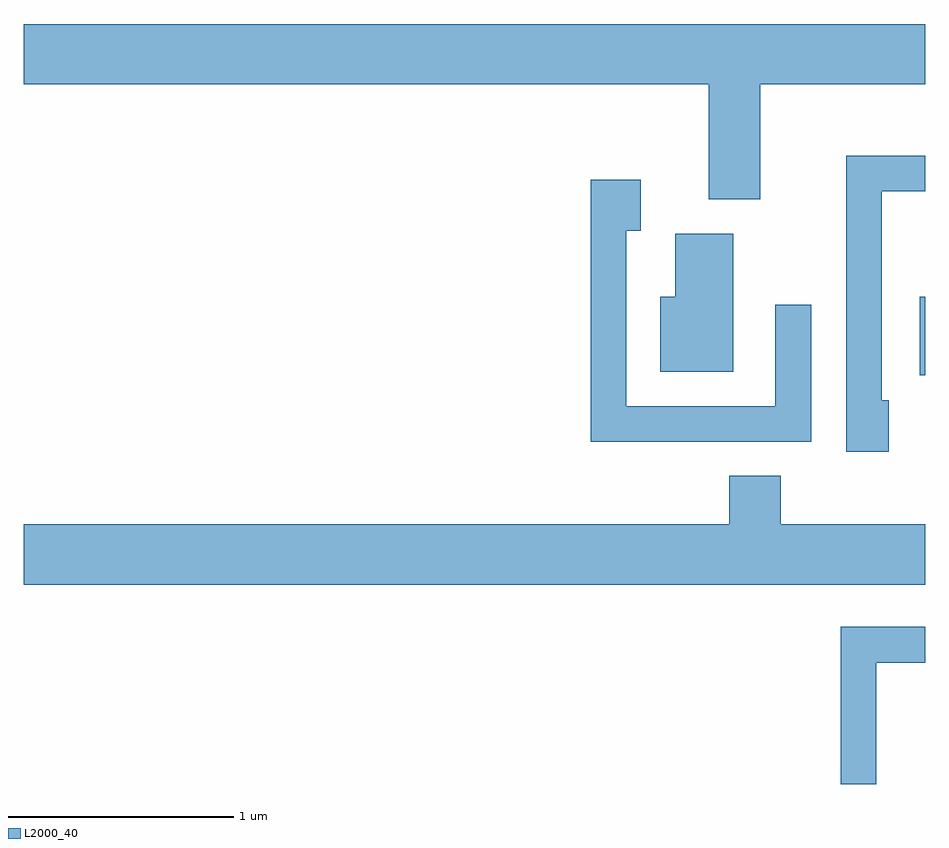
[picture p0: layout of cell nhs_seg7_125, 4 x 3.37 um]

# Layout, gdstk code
import gdstk
lib = gdstk.Library(unit=1e-6, precision=1e-09)
def R(c, l, rs):  # rectangles x0, y0, x1, y1
    for r in rs: c.add(gdstk.rectangle(r[:2], r[2:], *l))
def P(c, l, *ps):  # polygons
    for p in ps: c.add(gdstk.Polygon(p, *l))
L2000_40 = (2000, 40)

nhs_seg7_125 = lib.new_cell('nhs_seg7_125')
R(nhs_seg7_125, L2000_40, [(191.586,1784.066,191.611,1784.414)])
P(nhs_seg7_125, L2000_40, [(190.879,1785.356),(191.611,1785.356),(191.611,1785.624),(187.611,1785.624),(187.611,1785.356),(190.651,1785.356),(190.651,1784.846),(190.879,1784.846)],
  [(191.449,1783.954),(191.419,1783.954),(191.419,1784.881),(191.611,1784.881),(191.611,1785.039),(191.261,1785.039),(191.261,1783.726),(191.449,1783.726)],
  [(191.104,1784.378),(190.946,1784.378),(190.946,1783.929),(190.284,1783.929),(190.284,1784.706),(190.349,1784.706),(190.349,1784.934),(190.126,1784.934),(190.126,1783.771),(191.104,1783.771)],
  [(190.759,1784.694),(190.501,1784.694),(190.501,1784.414),(190.436,1784.414),(190.436,1784.081),(190.759,1784.081)],
  [(191.611,1783.404),(190.969,1783.404),(190.969,1783.619),(190.741,1783.619),(190.741,1783.404),(187.611,1783.404),(187.611,1783.136),(191.611,1783.136)],
  [(191.394,1782.791),(191.611,1782.791),(191.611,1782.949),(191.236,1782.949),(191.236,1782.252),(191.394,1782.252)])

lib.write_gds('nhs_seg7_125.gds')
